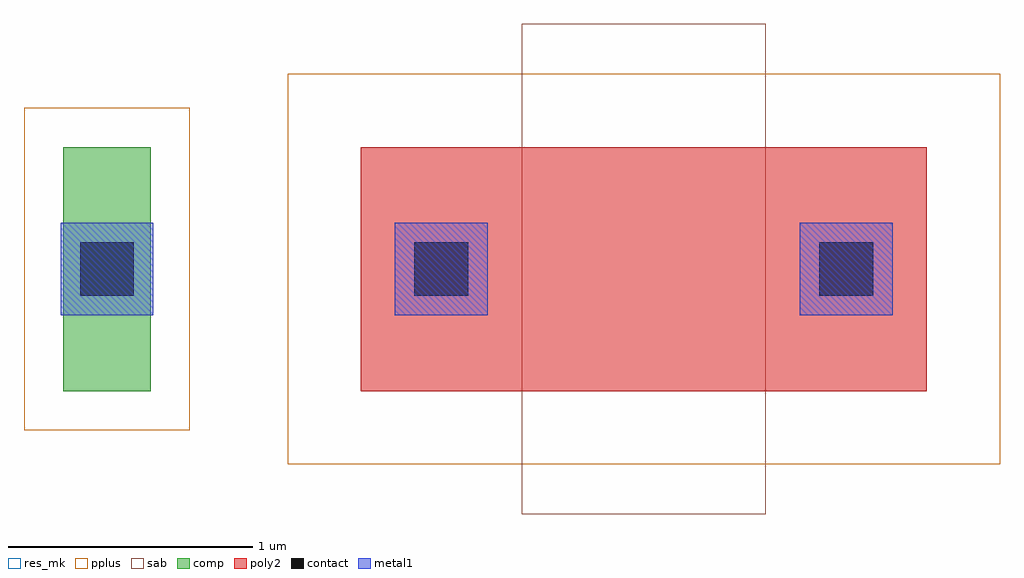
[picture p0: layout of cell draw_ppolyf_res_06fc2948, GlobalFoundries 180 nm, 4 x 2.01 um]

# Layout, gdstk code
import gdstk
lib = gdstk.Library(unit=1e-6, precision=1e-09)
def R(c, l, rs):  # rectangles x0, y0, x1, y1
    for r in rs: c.add(gdstk.rectangle(r[:2], r[2:], *l))
comp = (22, 0)
poly2 = (30, 0)
pplus = (31, 0)
contact = (33, 0)
metal1 = (34, 0)
sab = (49, 0)
res_mk = (110, 5)

draw_ppolyf_res_06fc2948 = lib.new_cell('draw_ppolyf_res_06fc2948')
R(draw_ppolyf_res_06fc2948, comp, [(-1.88,0,-1.52,1)])
R(draw_ppolyf_res_06fc2948, poly2, [(-0.66,0,1.66,1)])
R(draw_ppolyf_res_06fc2948, pplus, [(-0.96,-0.3,1.96,1.3), (-2.04,-0.16,-1.36,1.16)])
R(draw_ppolyf_res_06fc2948, contact, [(-1.81,0.39,-1.59,0.61), (-0.44,0.39,-0.22,0.61), (1.22,0.39,1.44,0.61)])
R(draw_ppolyf_res_06fc2948, metal1, [(-1.89,0.31,-1.51,0.69), (-0.52,0.31,-0.14,0.69), (1.14,0.31,1.52,0.69)])
R(draw_ppolyf_res_06fc2948, sab, [(0,-0.505,1,1.505)])
R(draw_ppolyf_res_06fc2948, res_mk, [(0,0,1,1)])

lib.write_gds('draw_ppolyf_res_06fc2948.gds')
